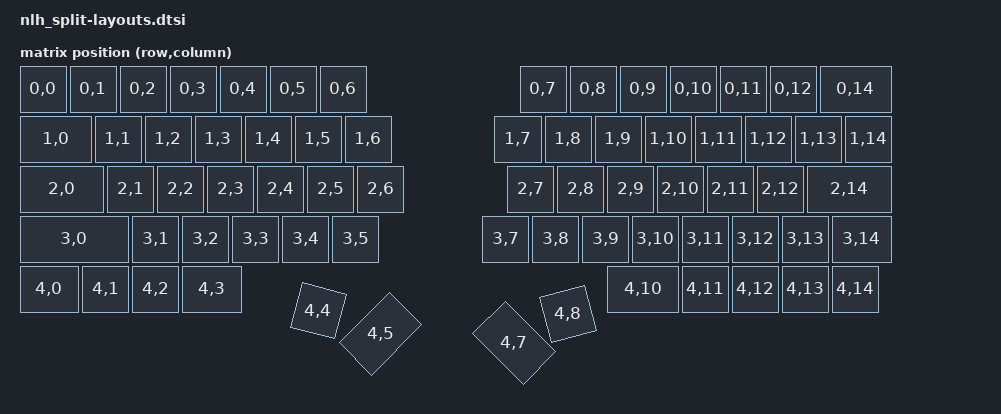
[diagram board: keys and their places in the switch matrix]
/*
 * NLH Split — Physical layout and matrix transform definitions
 *
 * 15-col × 5-row matrix, 70 keys total
 * Left: cols 0–6 (7 cols), Right: cols 7–14 (8 cols)
 * Col 13 absent on left; right-most keys in ROW0/ROW2 use col 14 (1.5u BSPC/RET)
 */

#include <physical_layouts.dtsi>
#include <dt-bindings/zmk/matrix_transform.h>

/ {
    default_transform: keymap_transform_0 {
        compatible = "zmk,matrix-transform";
        columns = <15>;
        rows = <5>;
        map = <
/* ROW0 (14): `  1  2  3  4  5  6  |  7  8  9  0  -  =  BSPC(1.5u) */
RC(0,0)  RC(0,1)  RC(0,2)  RC(0,3)  RC(0,4)  RC(0,5)  RC(0,6)    RC(0,7)  RC(0,8)  RC(0,9) RC(0,10) RC(0,11) RC(0,12) RC(0,14)
/* ROW1 (15): TAB(1.5u)  Q  W  E  R  T  Y  |  Y  U  I  O  P  [  ]  \ */
RC(1,0)  RC(1,1)  RC(1,2)  RC(1,3)  RC(1,4)  RC(1,5)  RC(1,6)    RC(1,7)  RC(1,8)  RC(1,9) RC(1,10) RC(1,11) RC(1,12) RC(1,13) RC(1,14)
/* ROW2 (14): CAPS(1.75u)  A  S  D  F  G  H  |  H  J  K  L  ;  '  RET(1.75u) */
RC(2,0)  RC(2,1)  RC(2,2)  RC(2,3)  RC(2,4)  RC(2,5)  RC(2,6)    RC(2,7)  RC(2,8)  RC(2,9) RC(2,10) RC(2,11) RC(2,12) RC(2,14)
/* ROW3 (14): LSFT(2.25u)  Z  X  C  V  B  |  B  N  M  ,  .  ?/!  UP  RSFT(1.25u) */
RC(3,0)  RC(3,1)  RC(3,2)  RC(3,3)  RC(3,4)  RC(3,5)              RC(3,7)  RC(3,8)  RC(3,9) RC(3,10) RC(3,11) RC(3,12) RC(3,13) RC(3,14)
/* ROW4 (13): Fn(1.25u)  LCTL  LALT  LGUI(1.25u)  LANG1  SPC(+15°)  |  RET(+45°)  BSPC(-15°)  RGUI(1.5u)  LANG2  ←  ↓  → */
RC(4,0)  RC(4,1)  RC(4,2)  RC(4,3)  RC(4,4)  RC(4,5)              RC(4,7)  RC(4,8) RC(4,10) RC(4,11) RC(4,12) RC(4,13) RC(4,14)
        >;
    };
};

/ {
    physical_layout0: physical_layout_0 {
        compatible = "zmk,physical-layout";
        display-name = "Default";
        transform = <&default_transform>;
        keys /* w    h     x     y      r    rx    ry  */
            /* ROW0 Left */
            = <&key_physical_attrs 100 100    0    0   0     0    0>   /* `     */
            , <&key_physical_attrs 100 100  100    0   0     0    0>   /* 1     */
            , <&key_physical_attrs 100 100  200    0   0     0    0>   /* 2     */
            , <&key_physical_attrs 100 100  300    0   0     0    0>   /* 3     */
            , <&key_physical_attrs 100 100  400    0   0     0    0>   /* 4     */
            , <&key_physical_attrs 100 100  500    0   0     0    0>   /* 5     */
            , <&key_physical_attrs 100 100  600    0   0     0    0>   /* 6     */
            /* ROW0 Right */
            , <&key_physical_attrs 100 100 1000    0   0     0    0>   /* 7     */
            , <&key_physical_attrs 100 100 1100    0   0     0    0>   /* 8     */
            , <&key_physical_attrs 100 100 1200    0   0     0    0>   /* 9     */
            , <&key_physical_attrs 100 100 1300    0   0     0    0>   /* 0     */
            , <&key_physical_attrs 100 100 1400    0   0     0    0>   /* -     */
            , <&key_physical_attrs 100 100 1500    0   0     0    0>   /* =     */
            , <&key_physical_attrs 150 100 1600    0   0     0    0>   /* BSPC  */
            /* ROW1 Left */
            , <&key_physical_attrs 150 100    0  100   0     0    0>   /* TAB   */
            , <&key_physical_attrs 100 100  150  100   0     0    0>   /* Q     */
            , <&key_physical_attrs 100 100  250  100   0     0    0>   /* W     */
            , <&key_physical_attrs 100 100  350  100   0     0    0>   /* E     */
            , <&key_physical_attrs 100 100  450  100   0     0    0>   /* R     */
            , <&key_physical_attrs 100 100  550  100   0     0    0>   /* T     */
            , <&key_physical_attrs 100 100  650  100   0     0    0>   /* Y     */
            /* ROW1 Right */
            , <&key_physical_attrs 100 100  950  100   0     0    0>   /* Y     */
            , <&key_physical_attrs 100 100 1050  100   0     0    0>   /* U     */
            , <&key_physical_attrs 100 100 1150  100   0     0    0>   /* I     */
            , <&key_physical_attrs 100 100 1250  100   0     0    0>   /* O     */
            , <&key_physical_attrs 100 100 1350  100   0     0    0>   /* P     */
            , <&key_physical_attrs 100 100 1450  100   0     0    0>   /* [     */
            , <&key_physical_attrs 100 100 1550  100   0     0    0>   /* ]     */
            , <&key_physical_attrs 100 100 1650  100   0     0    0>   /* \     */
            /* ROW2 Left */
            , <&key_physical_attrs 175 100    0  200   0     0    0>   /* CAPS  */
            , <&key_physical_attrs 100 100  175  200   0     0    0>   /* A     */
            , <&key_physical_attrs 100 100  275  200   0     0    0>   /* S     */
            , <&key_physical_attrs 100 100  375  200   0     0    0>   /* D     */
            , <&key_physical_attrs 100 100  475  200   0     0    0>   /* F     */
            , <&key_physical_attrs 100 100  575  200   0     0    0>   /* G     */
            , <&key_physical_attrs 100 100  675  200   0     0    0>   /* H     */
            /* ROW2 Right */
            , <&key_physical_attrs 100 100  975  200   0     0    0>   /* H     */
            , <&key_physical_attrs 100 100 1075  200   0     0    0>   /* J     */
            , <&key_physical_attrs 100 100 1175  200   0     0    0>   /* K     */
            , <&key_physical_attrs 100 100 1275  200   0     0    0>   /* L     */
            , <&key_physical_attrs 100 100 1375  200   0     0    0>   /* ;     */
            , <&key_physical_attrs 100 100 1475  200   0     0    0>   /* '     */
            , <&key_physical_attrs 175 100 1575  200   0     0    0>   /* RET   */
            /* ROW3 Left */
            , <&key_physical_attrs 225 100    0  300   0     0    0>   /* LSFT  */
            , <&key_physical_attrs 100 100  225  300   0     0    0>   /* Z     */
            , <&key_physical_attrs 100 100  325  300   0     0    0>   /* X     */
            , <&key_physical_attrs 100 100  425  300   0     0    0>   /* C     */
            , <&key_physical_attrs 100 100  525  300   0     0    0>   /* V     */
            , <&key_physical_attrs 100 100  625  300   0     0    0>   /* B     */
            /* ROW3 Right */
            , <&key_physical_attrs 100 100  925  300   0     0    0>   /* B     */
            , <&key_physical_attrs 100 100 1025  300   0     0    0>   /* N     */
            , <&key_physical_attrs 100 100 1125  300   0     0    0>   /* M     */
            , <&key_physical_attrs 100 100 1225  300   0     0    0>   /* ,     */
            , <&key_physical_attrs 100 100 1325  300   0     0    0>   /* .     */
            , <&key_physical_attrs 100 100 1425  300   0     0    0>   /* ?/!   */
            , <&key_physical_attrs 100 100 1525  300   0     0    0>   /* UP    */
            , <&key_physical_attrs 125 100 1625  300   0     0    0>   /* RSFT  */
            /* ROW4 Left */
            , <&key_physical_attrs 125 100    0  400   0     0    0>   /* Fn    */
            , <&key_physical_attrs 100 100  125  400   0     0    0>   /* LCTL  */
            , <&key_physical_attrs 100 100  225  400   0     0    0>   /* LALT  */
            , <&key_physical_attrs 125 100  325  400   0     0    0>   /* LGUI  */
            , <&key_physical_attrs 100 100  550  450  1500   625   500> /* LANG1 (+15°) */
            , <&key_physical_attrs 150 100  675  500 (-4500)  725   575> /* SPC  (-45°) */
            /* ROW4 Right */
            , <&key_physical_attrs 150 100  900  500  4500   975   575> /* RET  (+45°) */
            , <&key_physical_attrs 100 100 1050  450 (-1500) 1100   500> /* BSPC (-15°) */
            , <&key_physical_attrs 150 100 1175  400   0     0    0>   /* RGUI  */
            , <&key_physical_attrs 100 100 1325  400   0     0    0>   /* LANG2 */
            , <&key_physical_attrs 100 100 1425  400   0     0    0>   /* ←    */
            , <&key_physical_attrs 100 100 1525  400   0     0    0>   /* ↓    */
            , <&key_physical_attrs 100 100 1625  400   0     0    0>   /* →    */
            ;
    };
};
